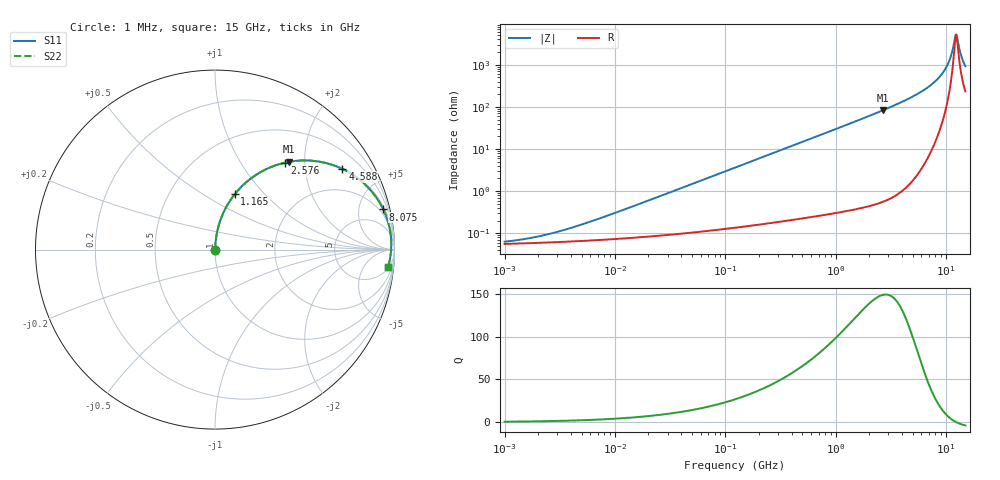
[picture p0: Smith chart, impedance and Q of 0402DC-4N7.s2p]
# MHz  S  MA  R  50
!Freq  MagS11  AngS11  MagS21  AngS21  MagS12  AngS12  MagS22  AngS22
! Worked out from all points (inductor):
!   801 points, 1 MHz to 15 GHz, reference 50 ohm
!   read as one part in series: L = 4.7 nH near 7.018 MHz
!   highest Q = 149 at 2.703 GHz (marker M1), where L = 4.94 nH
!   self-resonance near 12.3 GHz
!   S11 on the Smith chart (normalised r, x): 1 MHz: 1.00, +0.00; 1.165 GHz: 1.01, +0.69; 2.576 GHz: 1.01, +1.59; 4.588 GHz: 1.03, +3.14; 8.075 GHz: 1.31, +8.30; 15 GHz: 6, -18
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1  0.0006319 27.8  0.9994 -0.0  0.9994 -0.0  0.0006319 27.8
2.159231  0.0008724 46.9  0.9994 -0.0  0.9994 -0.0  0.0008724 46.9
5.011168  0.001618 66.0  0.9993 -0.1  0.9993 -0.1  0.001618 66.0
24.81158  0.007372 82.8  0.9991 -0.4  0.9991 -0.4  0.007372 82.8
122.8485  0.03623 85.8  0.998 -2.1  0.998 -2.1  0.03623 85.8
608.2547  0.1768 79.0  0.9819 -10.2  0.9819 -10.2  0.1768 79.0
1164.529  0.3269 70.4  0.942 -19.1  0.942 -19.1  0.3269 70.4
1752.858  0.4656 61.8  0.8814 -27.8  0.8814 -27.8  0.4656 61.8
2575.707  0.6204 51.3  0.7801 -38.3  0.7801 -38.3  0.6204 51.3
2702.652  0.6403 49.8  0.7639 -39.8  0.7639 -39.8  0.6403 49.8
3048.066  0.6896 46.0  0.7195 -43.6  0.7195 -43.6  0.6896 46.0
4587.973  0.8403 32.3  0.5348 -57.2  0.5348 -57.2  0.8403 32.3
6272.344  0.9229 21.7  0.3701 -67.3  0.3701 -67.3  0.9229 21.7
8074.614  0.964 13.4  0.2321 -74.4  0.2321 -74.4  0.964 13.4
9216.785  0.9763 9.2  0.16 -76.9  0.16 -76.9  0.9763 9.2
10270.47  0.9817 5.8  0.1016 -76.7  0.1016 -76.7  0.9817 5.8
11039.03  0.983 3.5  0.06353 -72.7  0.06353 -72.7  0.983 3.5
12008.67  0.9823 0.9  0.02408 -42.2  0.02408 -42.2  0.9823 0.9
12301.04  0.9816 0.2  0.01872 -10.8  0.01872 -10.8  0.9816 0.2
12752.99  0.9802 -0.9  0.02512 37.7  0.02512 37.7  0.9802 -0.9
13873.18  0.9753 -3.5  0.06457 65.8  0.06457 65.8  0.9753 -3.5
15000  0.9684 -5.8  0.1048 69.6  0.1048 69.6  0.9684 -5.8
